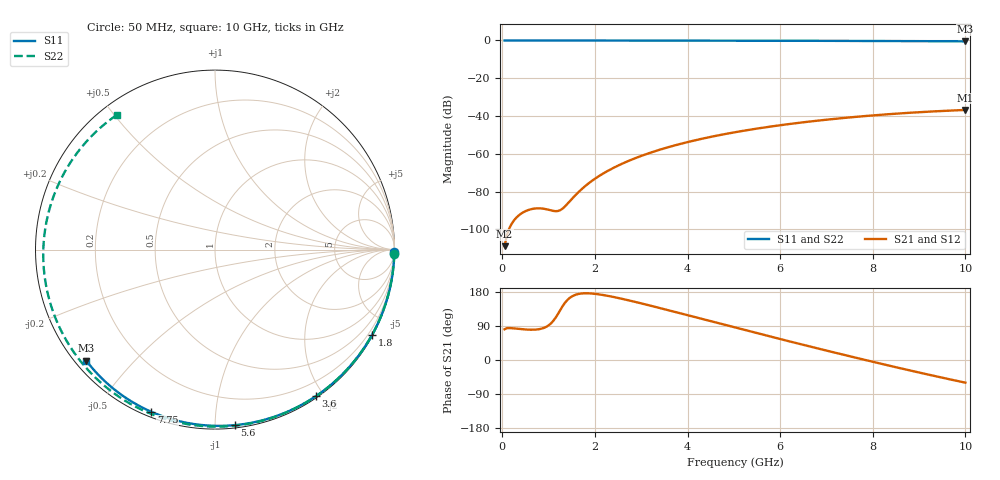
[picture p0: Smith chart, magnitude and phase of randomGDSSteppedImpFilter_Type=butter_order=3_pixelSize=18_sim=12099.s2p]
! freq	dB(S11)	phase(S11)	dB(S12)	phase(S12)
!  dB(S21)	phase(S21)	dB(S22)	phase(S22)
!S-par simulation data
#  GHz  S  DB  R 50
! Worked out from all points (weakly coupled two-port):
!   200 points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, 50 MHz to 10 GHz, reference 50 ohm
!   highest |S21| = -36.80 dB at 10 GHz (marker M1); lowest = -108.9 dB at 50 MHz (marker M2)
!   lowest |S11| = -0.5 dB at 10 GHz (marker M3), VSWR 36.81, Z = 1.55 - j18.6 ohm
!   |S11| at or under -10 dB: nowhere
!   |S22| runs from -0.6 to 0.0 dB; largest |S21 - S12| = 0
!   S11 on the Smith chart (normalised r, x): 50 MHz: open; 1.8 GHz: 0.03, -3.94; 3.6 GHz: 0.02, -1.90; 5.6 GHz: 0.02, -1.12; 7.75 GHz: 0.02, -0.68; 10 GHz: 0.03, -0.37
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0.05  -0.00 -0.8  -108.93 81.1  -108.93 81.1  -0.00 -1.3
0.45  -0.01 -7.2  -91.04 81.0  -91.04 81.0  -0.02 -12.1
0.8  -0.02 -12.8  -88.89 81.5  -88.89 81.5  -0.03 -21.5
1.2  -0.02 -19.1  -90.31 121.1  -90.31 121.1  -0.04 -32.0
1.65  -0.03 -26.1  -80.20 174.3  -80.20 174.3  -0.06 -43.7
1.75  -0.04 -27.7  -77.96 175.9  -77.96 175.9  -0.06 -46.3
1.8  -0.04 -28.5  -76.92 176.1  -76.92 176.1  -0.06 -47.5
2.1  -0.04 -33.1  -71.63 173.0  -71.63 173.0  -0.07 -55.1
2.45  -0.05 -38.4  -66.86 165.1  -66.86 165.1  -0.08 -63.8
2.9  -0.06 -45.2  -62.06 152.4  -62.06 152.4  -0.10 -74.7
3.4  -0.07 -52.6  -57.86 137.2  -57.86 137.2  -0.11 -86.5
3.6  -0.07 -55.6  -56.41 130.9  -56.41 130.9  -0.12 -91.1
4.3  -0.09 -65.7  -52.11 108.7  -52.11 108.7  -0.15 -106.8
5.05  -0.12 -76.1  -48.49 85.0  -48.49 85.0  -0.18 -123.1
5.6  -0.14 -83.6  -46.29 67.7  -46.29 67.7  -0.22 -134.8
6.15  -0.16 -90.9  -44.40 50.7  -44.40 50.7  -0.25 -146.3
6.7  -0.19 -98.1  -42.76 33.9  -42.76 33.9  -0.29 -157.9
7.25  -0.22 -105.1  -41.34 17.4  -41.34 17.4  -0.34 -169.5
7.75  -0.26 -111.4  -40.21 2.6  -40.21 2.6  -0.39 179.7
8.35  -0.30 -118.9  -39.04 -14.8  -39.04 -14.8  -0.45 166.3
9.15  -0.38 -128.7  -37.78 -37.2  -37.78 -37.2  -0.54 147.6
10  -0.47 -139.2  -36.80 -59.8  -36.80 -59.8  -0.64 126.2
